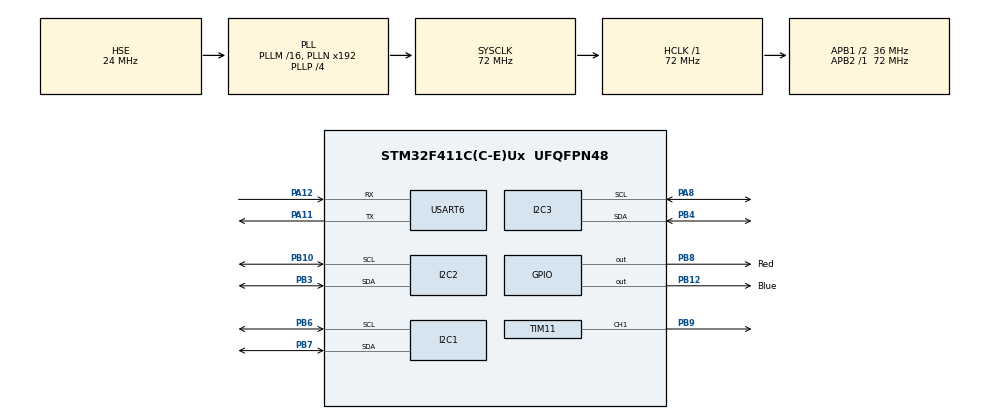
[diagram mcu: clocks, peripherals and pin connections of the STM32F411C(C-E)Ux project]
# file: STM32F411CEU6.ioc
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FREERTOS.Mutexes01=myMutex,Dynamic,NULL
FREERTOS.Queues01=oledQueue,16,uint16_t,0,Dynamic,NULL,NULL
FREERTOS.Tasks01=sht31Task,16,1024,Sht31Task,Default,NULL,Dynamic,NULL,NULL;gy30Task,16,1024,Gy30Task,Default,NULL,Dynamic,NULL,NULL;oledTask,24,1024,OledTask,Default,NULL,Dynamic,NULL,NULL;greenTask,8,1024,GreenTask,Default,NULL,Dynamic,NULL,NULL
FREERTOS.configMINIMAL_STACK_SIZE=1024
FREERTOS.configTOTAL_HEAP_SIZE=65536
FREERTOS.configUSE_TICKLESS_IDLE=0
Mcu.Family=STM32F4
Mcu.Name=STM32F411C(C-E)Ux
Mcu.Package=UFQFPN48
NVIC.PriorityGroup=NVIC_PRIORITYGROUP_4
NVIC.TIM1_UP_TIM10_IRQn=true\:0\:0\:false\:false\:true\:false\:false\:true
NVIC.TimeBase=TIM1_UP_TIM10_IRQn
NVIC.TimeBaseIP=TIM10
PA11.Mode=Asynchronous
PA11.Signal=USART6_TX
PA12.Mode=Asynchronous
PA12.Signal=USART6_RX
PA13.Mode=Serial_Wire
PA13.Signal=SYS_JTMS-SWDIO
PA14.Mode=Serial_Wire
PA14.Signal=SYS_JTCK-SWCLK
PA8.Mode=I2C
PA8.Signal=I2C3_SCL
PB10.Mode=I2C
PB10.Signal=I2C2_SCL
PB12.GPIO_Label=Blue
PB12.Signal=GPIO_Output
PB3.Mode=I2C
PB3.Signal=I2C2_SDA
PB4.Mode=I2C
PB4.Signal=I2C3_SDA
PB6.Mode=I2C
PB6.Signal=I2C1_SCL
PB7.Mode=I2C
PB7.Signal=I2C1_SDA
PB8.GPIO_Label=Red
PB8.Signal=GPIO_Output
PB9.Signal=S_TIM11_CH1
PH0\ -\ OSC_IN.Mode=HSE-External-Oscillator
PH0\ -\ OSC_IN.Signal=RCC_OSC_IN
PH1\ -\ OSC_OUT.Mode=HSE-External-Oscillator
PH1\ -\ OSC_OUT.Signal=RCC_OSC_OUT
ProjectManager.HeapSize=0x200
ProjectManager.StackSize=0x400
ProjectManager.TargetToolchain=STM32CubeIDE
RCC.48MHZClocksFreq_Value=72000000
RCC.AHBFreq_Value=72000000
RCC.APB1CLKDivider=RCC_HCLK_DIV2
RCC.APB1Freq_Value=36000000
RCC.APB1TimFreq_Value=72000000
RCC.APB2Freq_Value=72000000
RCC.APB2TimFreq_Value=72000000
RCC.CortexFreq_Value=72000000
RCC.EnbaleCSS=true
RCC.HCLKFreq_Value=72000000
RCC.HSE_VALUE=24000000
RCC.HSI_VALUE=16000000
RCC.LSE_VALUE=32768
RCC.PLLP=RCC_PLLP_DIV4
RCC.PLLSourceVirtual=RCC_PLLSOURCE_HSE
RCC.SYSCLKFreq_VALUE=72000000
RCC.SYSCLKSource=RCC_SYSCLKSOURCE_PLLCLK
RCC.VCOOutputFreq_Value=288000000
SH.S_TIM11_CH1.0=TIM11_CH1,PWM Generation1 CH1
TIM11.AutoReloadPreload=TIM_AUTORELOAD_PRELOAD_ENABLE
TIM11.Channel=TIM_CHANNEL_1
TIM11.Period=500
TIM11.Prescaler=72
TIM11.Pulse=250
USART6.VirtualMode=VM_ASYNC
VP_FREERTOS_VS_CMSIS_V2.Mode=CMSIS_V2
VP_SYS_VS_tim10.Mode=TIM10
VP_TIM11_VS_ClockSourceINT.Mode=Enable_Timer
board=custom

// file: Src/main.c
/* USER CODE BEGIN Header */
/**
  ******************************************************************************
  * @file           : main.c
  * @brief          : Main program body
  ******************************************************************************
  * @attention
  *
  * <h2><center>&copy; Copyright (c) 2019 STMicroelectronics.
  * All rights reserved.</center></h2>
  *
  * This software component is licensed by ST under BSD 3-Clause license,
  * the "License"; You may not use this file except in compliance with the
  * License. You may obtain a copy of the License at:
  *                        opensource.org/licenses/BSD-3-Clause
  *
  ******************************************************************************
  */
/* USER CODE END Header */

#include "main.h"
#include "cmsis_os.h"

/* USER CODE BEGIN Includes */
#include "stdio.h"
#include "sht3x.h"
#include "oled_display.h"
#include "gy_30.h"
#include "oled.h"
#include "uart_display.h"

/* USER CODE END Includes */

/* USER CODE BEGIN PD */
#ifdef __GNUC__
#define PUTCHAR_PROTOTYPE int __io_putchar(int ch)
#else
#define PUTCHAR_PROTOTYPE int fputc(int ch, FILE*f)
#endif
/* USER CODE END PD */

I2C_HandleTypeDef hi2c1;
I2C_HandleTypeDef hi2c2;
I2C_HandleTypeDef hi2c3;

TIM_HandleTypeDef htim11;

UART_HandleTypeDef huart6;

osThreadId_t sht31TaskHandle;
osThreadId_t gy30TaskHandle;
osThreadId_t oledTaskHandle;
osThreadId_t greenTaskHandle;
osMessageQueueId_t oledQueueHandle;
osMutexId_t myMutexHandle;
/* USER CODE BEGIN PV */
SHT3x_Sensor_Param Sht3x_Param;
GY30_Sensor_Param GY30_Param;
/* USER CODE END PV */

void SystemClock_Config(void);
static void MX_GPIO_Init(void);
static void MX_I2C1_Init(void);
static void MX_I2C2_Init(void);
static void MX_I2C3_Init(void);
static void MX_TIM11_Init(void);
static void MX_USART6_UART_Init(void);
void Sht31Task(void *argument);
void Gy30Task(void *argument);
void OledTask(void *argument);
void GreenTask(void *argument);

/* USER CODE BEGIN 0 */
PUTCHAR_PROTOTYPE
{
	HAL_UART_Transmit(&huart6, (uint8_t *)&ch, 1, 0xFFFF);
	return ch;
}
/* USER CODE END 0 */

int main(void)
{

  /* MCU Configuration--------------------------------------------------------*/

  /* Reset of all peripherals, Initializes the Flash interface and the Systick. */
  HAL_Init();

  /* Configure the system clock */
  SystemClock_Config();

  /* Initialize all configured peripherals */
  MX_GPIO_Init();
  MX_I2C1_Init();
  MX_I2C2_Init();
  MX_I2C3_Init();
  MX_TIM11_Init();
  MX_USART6_UART_Init();
  /* USER CODE BEGIN 2 */
//  printf("This is a STM32F411CEU6\n\r");
  oled_display_memu();
  HAL_TIM_PWM_Start(&htim11, TIM_CHANNEL_1);
  /* USER CODE END 2 */

  osKernelInitialize();

  /* Create the mutex(es) */
  /* definition and creation of myMutex */
  const osMutexAttr_t myMutex_attributes = {
    .name = "myMutex"
  };
  myMutexHandle = osMutexNew(&myMutex_attributes);

  /* Create the queue(s) */
  /* definition and creation of oledQueue */
  const osMessageQueueAttr_t oledQueue_attributes = {
    .name = "oledQueue"
  };
  oledQueueHandle = osMessageQueueNew (16, sizeof(uint16_t), &oledQueue_attributes);

  /* Create the thread(s) */
  /* definition and creation of sht31Task */
  const osThreadAttr_t sht31Task_attributes = {
    .name = "sht31Task",
    .priority = (osPriority_t) osPriorityBelowNormal,
    .stack_size = 1024
  };
  sht31TaskHandle = osThreadNew(Sht31Task, NULL, &sht31Task_attributes);

  /* definition and creation of gy30Task */
  const osThreadAttr_t gy30Task_attributes = {
    .name = "gy30Task",
    .priority = (osPriority_t) osPriorityBelowNormal,
    .stack_size = 1024
  };
  gy30TaskHandle = osThreadNew(Gy30Task, NULL, &gy30Task_attributes);

  /* definition and creation of oledTask */
  const osThreadAttr_t oledTask_attributes = {
    .name = "oledTask",
    .priority = (osPriority_t) osPriorityNormal,
    .stack_size = 1024
  };
  oledTaskHandle = osThreadNew(OledTask, NULL, &oledTask_attributes);

  /* definition and creation of greenTask */
  const osThreadAttr_t greenTask_attributes = {
    .name = "greenTask",
    .priority = (osPriority_t) osPriorityLow,
    .stack_size = 1024
  };
  greenTaskHandle = osThreadNew(GreenTask, NULL, &greenTask_attributes);

  /* Start scheduler */
  osKernelStart();

  /* We should never get here as control is now taken by the scheduler */

  /* Infinite loop */
  while (1)
  {
	  osDelay(1);

  }
}

void SystemClock_Config(void)
{
  RCC_OscInitTypeDef RCC_OscInitStruct = {0};
  RCC_ClkInitTypeDef RCC_ClkInitStruct = {0};

  /** Configure the main internal regulator output voltage
  */
  __HAL_RCC_PWR_CLK_ENABLE();
  __HAL_PWR_VOLTAGESCALING_CONFIG(PWR_REGULATOR_VOLTAGE_SCALE1);
  /** Initializes the CPU, AHB and APB busses clocks
  */
  RCC_OscInitStruct.OscillatorType = RCC_OSCILLATORTYPE_HSE;
  RCC_OscInitStruct.HSEState = RCC_HSE_ON;
  RCC_OscInitStruct.PLL.PLLState = RCC_PLL_ON;
  RCC_OscInitStruct.PLL.PLLSource = RCC_PLLSOURCE_HSE;
  RCC_OscInitStruct.PLL.PLLM = 16;
  RCC_OscInitStruct.PLL.PLLN = 192;
  RCC_OscInitStruct.PLL.PLLP = RCC_PLLP_DIV4;
  RCC_OscInitStruct.PLL.PLLQ = 4;
  if (HAL_RCC_OscConfig(&RCC_OscInitStruct) != HAL_OK)
  {
    Error_Handler();
  }
  /** Initializes the CPU, AHB and APB busses clocks
  */
  RCC_ClkInitStruct.ClockType = RCC_CLOCKTYPE_HCLK|RCC_CLOCKTYPE_SYSCLK
                              |RCC_CLOCKTYPE_PCLK1|RCC_CLOCKTYPE_PCLK2;
  RCC_ClkInitStruct.SYSCLKSource = RCC_SYSCLKSOURCE_PLLCLK;
  RCC_ClkInitStruct.AHBCLKDivider = RCC_SYSCLK_DIV1;
  RCC_ClkInitStruct.APB1CLKDivider = RCC_HCLK_DIV2;
  RCC_ClkInitStruct.APB2CLKDivider = RCC_HCLK_DIV1;

  if (HAL_RCC_ClockConfig(&RCC_ClkInitStruct, FLASH_LATENCY_2) != HAL_OK)
  {
    Error_Handler();
  }
  /** Enables the Clock Security System
  */
  HAL_RCC_EnableCSS();
}

static void MX_I2C1_Init(void)
{

  hi2c1.Instance = I2C1;
  hi2c1.Init.ClockSpeed = 100000;
  hi2c1.Init.DutyCycle = I2C_DUTYCYCLE_2;
  hi2c1.Init.OwnAddress1 = 0;
  hi2c1.Init.AddressingMode = I2C_ADDRESSINGMODE_7BIT;
  hi2c1.Init.DualAddressMode = I2C_DUALADDRESS_DISABLE;
  hi2c1.Init.OwnAddress2 = 0;
  hi2c1.Init.GeneralCallMode = I2C_GENERALCALL_DISABLE;
  hi2c1.Init.NoStretchMode = I2C_NOSTRETCH_DISABLE;
  if (HAL_I2C_Init(&hi2c1) != HAL_OK)
  {
    Error_Handler();
  }

}

static void MX_I2C2_Init(void)
{

  hi2c2.Instance = I2C2;
  hi2c2.Init.ClockSpeed = 100000;
  hi2c2.Init.DutyCycle = I2C_DUTYCYCLE_2;
  hi2c2.Init.OwnAddress1 = 0;
  hi2c2.Init.AddressingMode = I2C_ADDRESSINGMODE_7BIT;
  hi2c2.Init.DualAddressMode = I2C_DUALADDRESS_DISABLE;
  hi2c2.Init.OwnAddress2 = 0;
  hi2c2.Init.GeneralCallMode = I2C_GENERALCALL_DISABLE;
  hi2c2.Init.NoStretchMode = I2C_NOSTRETCH_DISABLE;
  if (HAL_I2C_Init(&hi2c2) != HAL_OK)
  {
    Error_Handler();
  }

}

static void MX_I2C3_Init(void)
{

  hi2c3.Instance = I2C3;
  hi2c3.Init.ClockSpeed = 100000;
  hi2c3.Init.DutyCycle = I2C_DUTYCYCLE_2;
  hi2c3.Init.OwnAddress1 = 0;
  hi2c3.Init.AddressingMode = I2C_ADDRESSINGMODE_7BIT;
  hi2c3.Init.DualAddressMode = I2C_DUALADDRESS_DISABLE;
  hi2c3.Init.OwnAddress2 = 0;
  hi2c3.Init.GeneralCallMode = I2C_GENERALCALL_DISABLE;
  hi2c3.Init.NoStretchMode = I2C_NOSTRETCH_DISABLE;
  if (HAL_I2C_Init(&hi2c3) != HAL_OK)
  {
    Error_Handler();
  }

}

static void MX_TIM11_Init(void)
{

  TIM_OC_InitTypeDef sConfigOC = {0};

  htim11.Instance = TIM11;
  htim11.Init.Prescaler = 72;
  htim11.Init.CounterMode = TIM_COUNTERMODE_UP;
  htim11.Init.Period = 500;
  htim11.Init.ClockDivision = TIM_CLOCKDIVISION_DIV1;
  htim11.Init.AutoReloadPreload = TIM_AUTORELOAD_PRELOAD_ENABLE;
  if (HAL_TIM_Base_Init(&htim11) != HAL_OK)
  {
    Error_Handler();
  }
  if (HAL_TIM_PWM_Init(&htim11) != HAL_OK)
  {
    Error_Handler();
  }
  sConfigOC.OCMode = TIM_OCMODE_PWM1;
  sConfigOC.Pulse = 250;
  sConfigOC.OCPolarity = TIM_OCPOLARITY_HIGH;
  sConfigOC.OCFastMode = TIM_OCFAST_DISABLE;
  if (HAL_TIM_PWM_ConfigChannel(&htim11, &sConfigOC, TIM_CHANNEL_1) != HAL_OK)
  {
    Error_Handler();
  }
  HAL_TIM_MspPostInit(&htim11);

}

static void MX_USART6_UART_Init(void)
{

  huart6.Instance = USART6;
  huart6.Init.BaudRate = 115200;
  huart6.Init.WordLength = UART_WORDLENGTH_8B;
  huart6.Init.StopBits = UART_STOPBITS_1;
  huart6.Init.Parity = UART_PARITY_NONE;
  huart6.Init.Mode = UART_MODE_TX_RX;
  huart6.Init.HwFlowCtl = UART_HWCONTROL_NONE;
  huart6.Init.OverSampling = UART_OVERSAMPLING_16;
  if (HAL_UART_Init(&huart6) != HAL_OK)
  {
    Error_Handler();
  }

}

static void MX_GPIO_Init(void)
{
  GPIO_InitTypeDef GPIO_InitStruct = {0};

  /* GPIO Ports Clock Enable */
  __HAL_RCC_GPIOH_CLK_ENABLE();
  __HAL_RCC_GPIOB_CLK_ENABLE();
  __HAL_RCC_GPIOA_CLK_ENABLE();

  /*Configure GPIO pin Output Level */
  HAL_GPIO_WritePin(GPIOB, Blue_Pin|Red_Pin, GPIO_PIN_RESET);

  /*Configure GPIO pins : Blue_Pin Red_Pin */
  GPIO_InitStruct.Pin = Blue_Pin|Red_Pin;
  GPIO_InitStruct.Mode = GPIO_MODE_OUTPUT_PP;
  GPIO_InitStruct.Pull = GPIO_NOPULL;
  GPIO_InitStruct.Speed = GPIO_SPEED_FREQ_LOW;
  HAL_GPIO_Init(GPIOB, &GPIO_InitStruct);

}

void Sht31Task(void *argument)
{

  /* USER CODE BEGIN 5 */
  /* Infinite loop */
  for(;;)
  {
	  sht31_read(&Sht3x_Param);
	  osDelay(1000);
  }
  /* USER CODE END 5 */
}

void Gy30Task(void *argument)
{
  /* USER CODE BEGIN Gy30Task */
  /* Infinite loop */
  for(;;)
  {
	  gy_30_read(&GY30_Param);
	  osDelay(1000);
  }
  /* USER CODE END Gy30Task */
}

void OledTask(void *argument)
{
  /* USER CODE BEGIN OledTask */
  /* Infinite loop */

  for(;;)
  {
	  int i;

	  OLED_Display_On();

	  for(i = 0; i < 3; i++) {
		  sht31_display(&Sht3x_Param);
		  gy_30_display(&GY30_Param);
		  osDelay(1000);
	  }

	  OLED_Display_Off();

	  osDelay(5000);
  }
  /* USER CODE END OledTask */
}

void GreenTask(void *argument)
{
  /* USER CODE BEGIN GreenTask */
  /* Infinite loop */
  for(;;)
  {
	  (&htim11)->Instance->CCR1 = GY30_Param.Lx;
	  osDelay(1000);
  }
  /* USER CODE END GreenTask */
}

void HAL_TIM_PeriodElapsedCallback(TIM_HandleTypeDef *htim)
{
  if (htim->Instance == TIM10) {
    HAL_IncTick();
  }
}

void Error_Handler(void)
{
}

/************************ (C) COPYRIGHT STMicroelectronics *****END OF FILE****/
